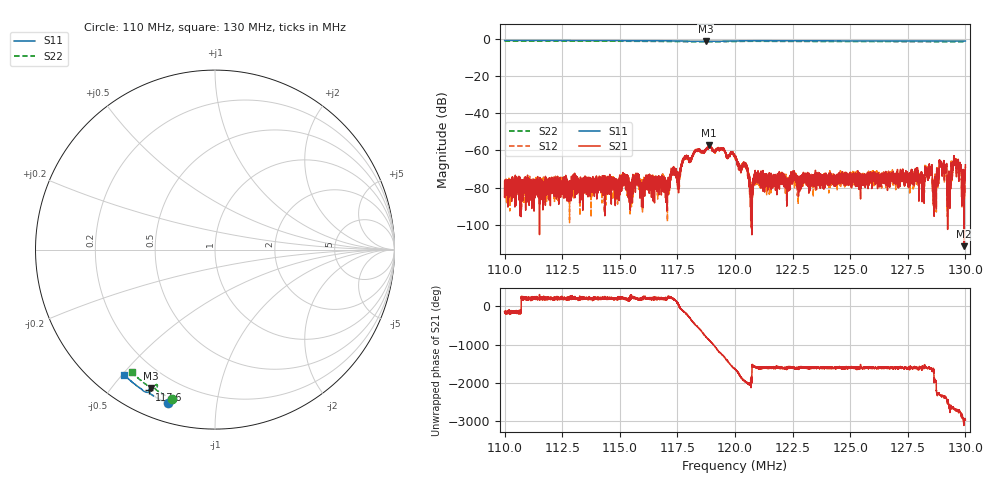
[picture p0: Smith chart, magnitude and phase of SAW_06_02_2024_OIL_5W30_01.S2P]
!Agilent Technologies,E5071C,MY46520923,B.12.03
!Date: Wed Feb 07 10:14:02 2024
!Data & Calibration Information:
!Freq	S11:SOLT2(ON)	S21:SOLT2(ON)	S12:SOLT2(ON)	S22:SOLT2(ON)
!PortZ  Port1:50+j0  Port2:50+j0
!Above PortZ is port z conversion or system Z0 setting when saving the data.
!When reading, reference impedance value at option line is always used.
# Hz S dB R 50
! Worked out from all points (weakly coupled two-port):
!   10000 points, 110 MHz to 130 MHz, reference 50 ohm
!   highest |S21| = -57.27 dB at 118.9 MHz (marker M1); lowest = -111.4 dB at 129.9 MHz (marker M2)
!   lowest |S11| = -1.4 dB at 118.7 MHz (marker M3), VSWR 12.24, Z = 5.74 - j31.7 ohm
!   |S11| at or under -10 dB: nowhere
!   |S22| runs from -1.7 to -1.2 dB; largest |S21 - S12| = 0.0002
!   S11 on the Smith chart (normalised r, x): 110 MHz: 0.08, -0.74; 117.6 MHz: 0.10, -0.63; 130 MHz: 0.09, -0.51
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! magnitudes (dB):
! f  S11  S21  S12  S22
! 110 MHz  -1.0  -84.9  -76.0  -1.2
! 113.3 MHz  -1.0  -82.8  -76.4  -1.3
! 116.7 MHz  -1.1  -76.3  -76.2  -1.4
! 117 MHz  -1.1  -77.5  -76.8  -1.5
! 117.6 MHz  -1.3  -69.1  -70.1  -1.6
! 117.8 MHz  -1.3  -63.5  -64.5  -1.6
! 118.7 MHz  -1.4  -60.2  -59.5  -1.7
! 118.9 MHz  -1.4  -57.3  -57.6  -1.7
! 120 MHz  -1.2  -63.6  -63.1  -1.5
! 120.5 MHz  -1.1  -68.3  -68.5  -1.4
! 120.7 MHz  -1.1  -84.4  -84.8  -1.4
! 120.9 MHz  -1.1  -74.5  -74.6  -1.4
! 123.3 MHz  -1.1  -79.1  -75.3  -1.5
! 126.7 MHz  -1.2  -77.3  -72.9  -1.6
! 128.1 MHz  -1.2  -80.7  -82.7  -1.6
! 128.5 MHz  -1.3  -72.6  -71.7  -1.6
! 128.7 MHz  -1.3  -76.1  -78.0  -1.6
! 129 MHz  -1.3  -67.1  -68.3  -1.6
! 129.3 MHz  -1.3  -71.2  -72.0  -1.7
! 129.6 MHz  -1.3  -66.0  -66.2  -1.7
! 129.9 MHz  -1.3  -111.4  -102.2  -1.7
! 130 MHz  -1.3  -67.7  -69.4  -1.7
